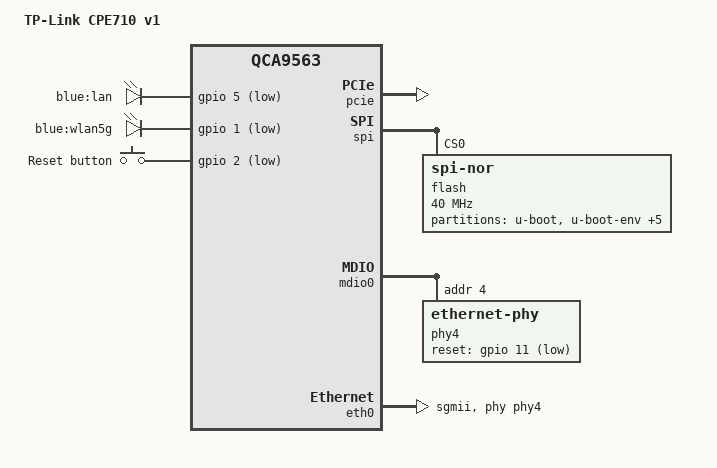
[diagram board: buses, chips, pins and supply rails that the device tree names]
// SPDX-License-Identifier: GPL-2.0-or-later OR MIT

#include "qca956x.dtsi"

#include <dt-bindings/gpio/gpio.h>
#include <dt-bindings/input/input.h>

/ {
	model = "TP-Link CPE710 v1";
	compatible = "tplink,cpe710-v1", "qca,qca9563";

	aliases {
		label-mac-device = &eth0;
		led-boot = &led_lan;
		led-failsafe = &led_lan;
		led-upgrade = &led_lan;
	};

	leds {
		compatible = "gpio-leds";

		led_lan: lan {
			label = "blue:lan";
			gpios = <&gpio 5 GPIO_ACTIVE_LOW>;
		};

		wlan5g {
			label = "blue:wlan5g";
			gpios = <&gpio 1 GPIO_ACTIVE_LOW>;
			linux,default-trigger = "phy0tpt";
		};
	};

	keys {
		compatible = "gpio-keys";

		reset {
			label = "Reset button";
			linux,code = <KEY_RESTART>;
			gpios = <&gpio 2 GPIO_ACTIVE_LOW>;
			debounce-interval = <60>;
		};
	};
};

&pcie {
	status = "okay";
};

&spi {
	status = "okay";

	flash@0 {
		compatible = "jedec,spi-nor";
		reg = <0>;
		spi-max-frequency = <40000000>;

		partitions {
			compatible = "fixed-partitions";
			#address-cells = <1>;
			#size-cells = <1>;

			partition@0 {
				label = "u-boot";
				reg = <0x000000 0x040000>;
				read-only;
			};

			partition@40000 {
				label = "u-boot-env";
				reg = <0x040000 0x010000>;
			};

			partition@50000 {
				label = "partition-table";
				reg = <0x050000 0x010000>;
				read-only;
			};

			info: partition@60000 {
				label = "info";
				reg = <0x060000 0x010000>;
				read-only;
			};

			partition@70000 {
				compatible = "denx,uimage";
				label = "firmware";
				reg = <0x070000 0xf50000>;
			};

			partition@fc0000 {
				label = "config";
				reg = <0xfc0000 0x030000>;
				read-only;
			};

			art: partition@ff0000 {
				label = "art";
				reg = <0xff0000 0x010000>;
				read-only;
			};
		};
	};
};

&pinmux {
	mdio_pins: mdio_pins {
		/* GPIO 10 as MDIO(0x20), GPIO 8 as MDC(0x21) */
		pinctrl-single,bits = <0x8 0x00200021 0x00ff00ff>;
	};
};

&mdio0 {
	status = "okay";

	pinctrl-names = "default";
	pinctrl-0 = <&mdio_pins>;

	phy-mask = <0x10>;

	phy4: ethernet-phy@4 {
		reg = <4>;
		reset-gpios = <&gpio 11 GPIO_ACTIVE_LOW>;
	};
};

&eth0 {
	status = "okay";

	phy-handle = <&phy4>;
	phy-mode = "sgmii";

	nvmem-cells = <&macaddr_info_8>;
	nvmem-cell-names = "mac-address";

	qca956x-serdes-fixup;

	gmac-config {
		device = <&gmac>;
	};
};

&info {
	compatible = "nvmem-cells";
	#address-cells = <1>;
	#size-cells = <1>;

	macaddr_info_8: macaddr@8 {
		reg = <0x8 0x6>;
	};
};
